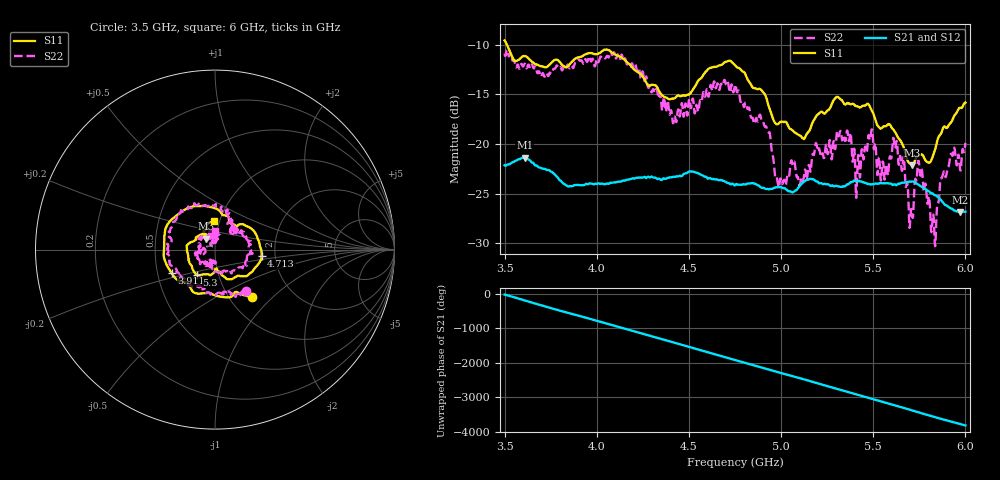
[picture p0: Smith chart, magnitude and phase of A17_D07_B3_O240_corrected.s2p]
! Created with skrf 1.9.0 (http://scikit-rf.org).
# Hz S RI R 50.0
!freq ReS11 ImS11 ReS21 ImS21 ReS12 ImS12 ReS22 ImS22
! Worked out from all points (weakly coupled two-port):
!   1601 points, 3.5 GHz to 6 GHz, reference 50 ohm
!   highest |S21| = -21.36 dB at 3.609 GHz (marker M1); lowest = -26.9 dB at 5.972 GHz (marker M2)
!   lowest |S11| = -22.1 dB at 5.711 GHz (marker M3), VSWR 1.17, Z = 45 + j5.49 ohm
!   |S11| at or under -10 dB: 3.513 GHz to end of sweep
!   |S22| runs from -30.3 to -10.5 dB; largest |S21 - S12| = 0.00099
!   S11 on the Smith chart (normalised r, x): 3.5 GHz: 1.27, -0.75; 3.911 GHz: 0.59, -0.17; 4.713 GHz: 1.70, -0.13; 5.3 GHz: 0.79, -0.23; 6 GHz: 0.93, +0.31
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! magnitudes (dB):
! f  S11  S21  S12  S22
! 3.5 GHz  -9.6  -22.1  -22.1  -10.9
! 3.609 GHz  -11.1  -21.4  -21.4  -11.9
! 3.911 GHz  -11.2  -24.1  -24.1  -11.6
! 3.917 GHz  -11.2  -24.2  -24.1  -11.6
! 4.334 GHz  -14.5  -23.5  -23.5  -15.4
! 4.422 GHz  -15.4  -23.3  -23.3  -17.3
! 4.713 GHz  -11.6  -23.9  -23.9  -13.8
! 4.75 GHz  -12.0  -24.2  -24.1  -14.0
! 4.928 GHz  -15.9  -24.5  -24.5  -18.8
! 4.981 GHz  -18.0  -24.4  -24.4  -23.8
! 5.167 GHz  -18.0  -23.5  -23.5  -21.5
! 5.3 GHz  -15.3  -24.2  -24.2  -19.3
! 5.416 GHz  -16.2  -23.8  -23.8  -21.8
! 5.484 GHz  -16.3  -24.1  -24.0  -19.5
! 5.584 GHz  -18.0  -24.0  -23.9  -22.3
! 5.619 GHz  -18.8  -24.1  -24.1  -20.4
! 5.711 GHz  -22.1  -23.8  -23.7  -27.1
! 5.753 GHz  -21.1  -24.2  -24.2  -22.8
! 5.828 GHz  -21.0  -25.1  -25.1  -27.5
! 5.875 GHz  -18.6  -25.8  -25.8  -23.3
! 5.972 GHz  -16.3  -26.9  -26.8  -22.6
! 6 GHz  -15.8  -26.8  -26.8  -19.9
